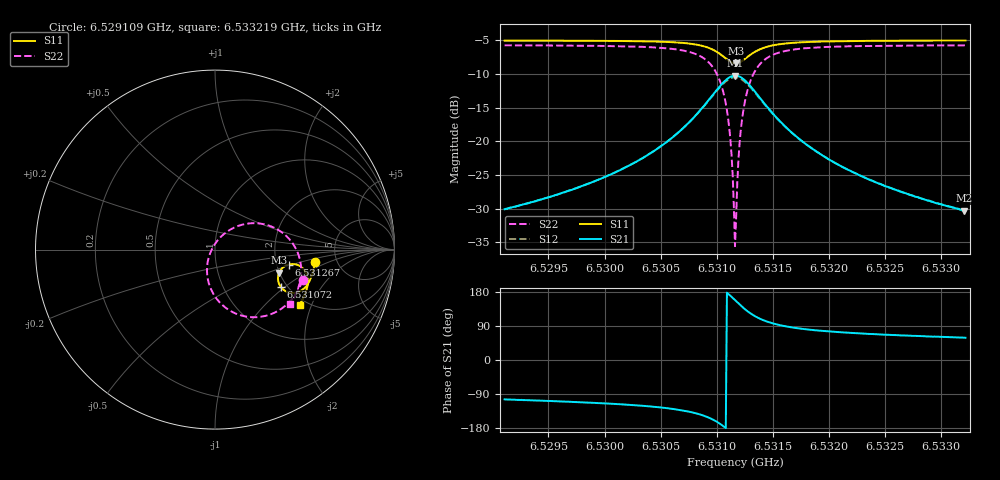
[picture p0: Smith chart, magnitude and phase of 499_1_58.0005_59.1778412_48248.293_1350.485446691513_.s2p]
#  HZ  S  RI  R  50.00
! Rohde & Schwarz Vector Network Analyzer
! Rohde-Schwarz,ZNB20-2Port,1311601062101988,3.16
! Created: UTC 3/21/2024, 1:12:42 AM
! freq[Hz]  re:S11  im:S11  re:S21  im:S21  re:S12  im:S12  re:S22  im:S22
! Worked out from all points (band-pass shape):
!   401 points, 6.529109 GHz to 6.533219 GHz, reference 50 ohm
!   highest |S21| = -10.22 dB at 6.531164 GHz (marker M1); lowest = -30.3 dB at 6.533209 GHz (marker M2)
!   |S21| within 3 dB of the highest: 6.53096 GHz to 6.531371 GHz (411.2 kHz wide, 0.0063 % of centre)
!   lowest |S11| = -8.4 dB at 6.531174 GHz (marker M3), VSWR 2.23, Z = 99.6 - j30 ohm
!   |S11| at or under -10 dB: nowhere
!   |S22| runs from -35.6 to -5.7 dB; largest |S21 - S12| = 0.012
!   S11 on the Smith chart (normalised r, x): 6.529109 GHz: 3.41, -0.67; 6.531072 GHz: 1.85, -0.93; 6.531267 GHz: 2.33, -0.47; 6.533219 GHz: 1.82, -1.64
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6.5291087e9  0.5569 -0.0674  -0.00749 -0.0303  -0.00807 -0.0301  0.4887 -0.1713
6.5297973e9  0.5457 -0.1245  -0.017 -0.0433  -0.0182 -0.0427  0.4574 -0.2353
6.5304858e9  0.5167 -0.1927  -0.0513 -0.0736  -0.0532 -0.0724  0.3755 -0.3254
6.5307222e9  0.4892 -0.2223  -0.0913 -0.093  -0.094 -0.09  0.2945 -0.3656
6.5308969e9  0.4451 -0.2409  -0.1596 -0.099  -0.1617 -0.0926  0.168 -0.3723
6.5309997e9  0.4003 -0.2349  -0.2289 -0.0721  -0.2281 -0.0626  0.0501 -0.3164
6.5310716e9  0.3657 -0.2071  -0.28 -0.0131  -0.2743 -0.00336  -0.0273 -0.2089
6.5311127e9  0.353 -0.1789  -0.2959 0.04  -0.2869 0.0479  -0.0447 -0.118
6.531123e9  0.3516 -0.1709  -0.2969 0.0549  -0.2873 0.0621  -0.0438 -0.0932
6.5311538e9  0.3523 -0.1455  -0.2908 0.1007  -0.28 0.1051  -0.0267 -0.0191
6.5311641e9  0.3545 -0.1369  -0.2858 0.1157  -0.2748 0.119  -0.016 0.00462
6.5311744e9  0.3575 -0.1289  -0.2795 0.1301  -0.2683 0.1323  -0.00303 0.0272
6.5311847e9  0.3613 -0.1212  -0.2713 0.1436  -0.2606 0.1451  0.0121 0.048
6.5312052e9  0.3712 -0.1074  -0.2522 0.1677  -0.2421 0.1674  0.0473 0.0847
6.5312155e9  0.377 -0.1015  -0.2414 0.1779  -0.2316 0.1769  0.0671 0.1001
6.5312669e9  0.4104 -0.0831  -0.1803 0.21  -0.1737 0.2069  0.1727 0.1434
6.5313388e9  0.4539 -0.0835  -0.1044 0.2118  -0.101 0.2087  0.3005 0.1337
6.5314416e9  0.4913 -0.1063  -0.0391 0.1803  -0.0377 0.1784  0.407 0.0661
6.5318527e9  0.5168 -0.1867  0.0164 0.0866  0.0174 0.0864  0.4804 -0.1277
6.5325412e9  0.4975 -0.2574  0.0181 0.0414  0.0189 0.0413  0.4522 -0.2448
6.5332092e9  0.4713 -0.3074  0.0157 0.0261  0.0163 0.0259  0.418 -0.3046
6.5332195e9  0.4708 -0.3081  0.0159 0.0261  0.0163 0.0258  0.4175 -0.3055
